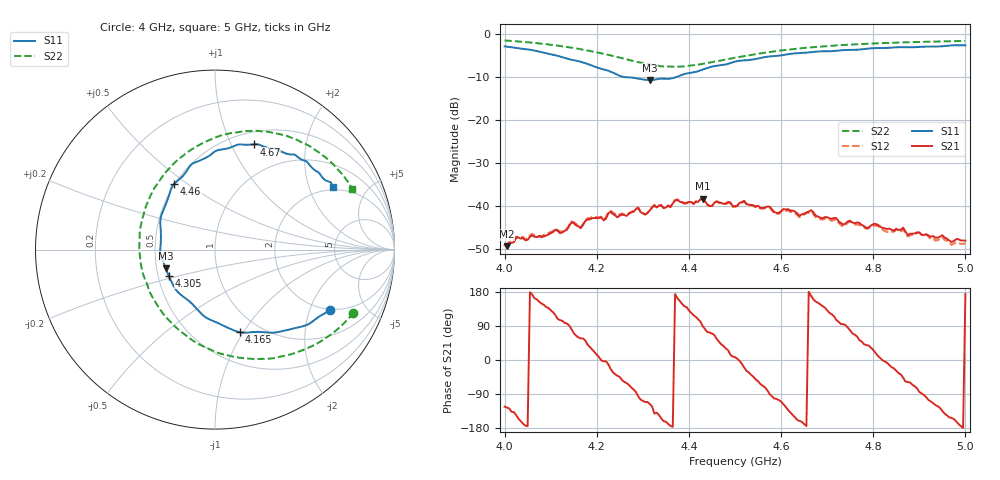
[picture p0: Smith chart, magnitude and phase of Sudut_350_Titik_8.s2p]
# Hz S RI R 50
! CMT, C1220, 16058040, 17.2.0/1
! Date: 15/08/2018 11:45:33
! Data: Format (Calibration Info)
! Freq  S11: Re/Im (F2)  S21: Re/Im (F2)  S12: Re/Im (F2)  S22: Re/Im (F2)
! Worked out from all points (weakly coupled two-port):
!   201 points, 4 GHz to 5 GHz, reference 50 ohm
!   highest |S21| = -38.20 dB at 4.43 GHz (marker M1); lowest = -49.2 dB at 4.005 GHz (marker M2)
!   lowest |S11| = -10.6 dB at 4.315 GHz (marker M3), VSWR 1.83, Z = 27.9 - j6.39 ohm
!   |S11| at or under -10 dB: 4.266 GHz to 4.371 GHz (104.8 MHz wide, 2.43 % of centre)
!   |S22| runs from -7.5 to -1.4 dB; largest |S21 - S12| = 0.0013
!   S11 on the Smith chart (normalised r, x): 4 GHz: 1.96, -2.77; 4.165 GHz: 0.80, -0.96; 4.305 GHz: 0.57, -0.18; 4.46 GHz: 0.50, +0.44; 4.67 GHz: 0.64, +1.22; 5 GHz: 1.85, +2.91
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4e9  0.6403 -0.3372  -0.00194 -0.00296  -0.00187 -0.00317  0.7715 -0.3515
4.005e9  0.6316 -0.3437  -0.002 -0.00281  -0.00199 -0.00303  0.7628 -0.3629
4.025e9  0.5871 -0.3687  -0.00354 -0.00246  -0.00353 -0.00267  0.7234 -0.4054
4.125e9  0.2846 -0.4615  -0.00116 0.00484  -0.00131 0.00496  0.438 -0.5786
4.145e9  0.2118 -0.4592  0.000943 0.00648  0.00079 0.00665  0.3622 -0.5965
4.165e9  0.1365 -0.46  0.00304 0.00469  0.00303 0.00483  0.2841 -0.6082
4.17e9  0.1206 -0.4554  0.00331 0.00509  0.00325 0.00525  0.2637 -0.6092
4.23e9  -0.072 -0.3612  0.00794 -0.0034  0.00821 -0.00341  -0.000363 -0.5688
4.245e9  -0.111 -0.3193  0.00557 -0.00497  0.00577 -0.00515  -0.0628 -0.5404
4.29e9  -0.2337 -0.1956  -0.00101 -0.00948  -0.00106 -0.00967  -0.2438 -0.407
4.305e9  -0.2582 -0.1452  -0.00283 -0.00751  -0.00291 -0.00755  -0.2933 -0.3518
4.315e9  -0.2746 -0.1045  -0.00393 -0.0081  -0.00407 -0.0082  -0.3223 -0.3084
4.335e9  -0.3014 -0.0384  -0.00838 -0.0058  -0.00847 -0.0058  -0.3705 -0.2165
4.43e9  -0.2608 0.2886  0.000161 0.0123  0.000358 0.0122  -0.3842 0.2431
4.46e9  -0.2287 0.3646  0.00636 0.00955  0.00651 0.00934  -0.3245 0.3613
4.5e9  -0.1446 0.4586  0.00999 0.0013  0.00982 0.00123  -0.2234 0.4852
4.52e9  -0.1139 0.4847  0.0109 -0.00398  0.0107 -0.00403  -0.1671 0.532
4.59e9  0.0464 0.5587  -0.00185 -0.00821  -0.00191 -0.00797  0.0392 0.637
4.67e9  0.2149 0.5858  -0.00808 0.0029  -0.00768 0.00293  0.2587 0.6588
4.735e9  0.3354 0.5625  -0.000492 0.00613  -0.000523 0.00581  0.4093 0.6297
4.835e9  0.4838 0.5009  0.00537 -0.00129  0.00506 -0.0011  0.5859 0.536
5e9  0.6566 0.3503  -0.00399 0.000406  -0.00373 0.000241  0.7658 0.3382
